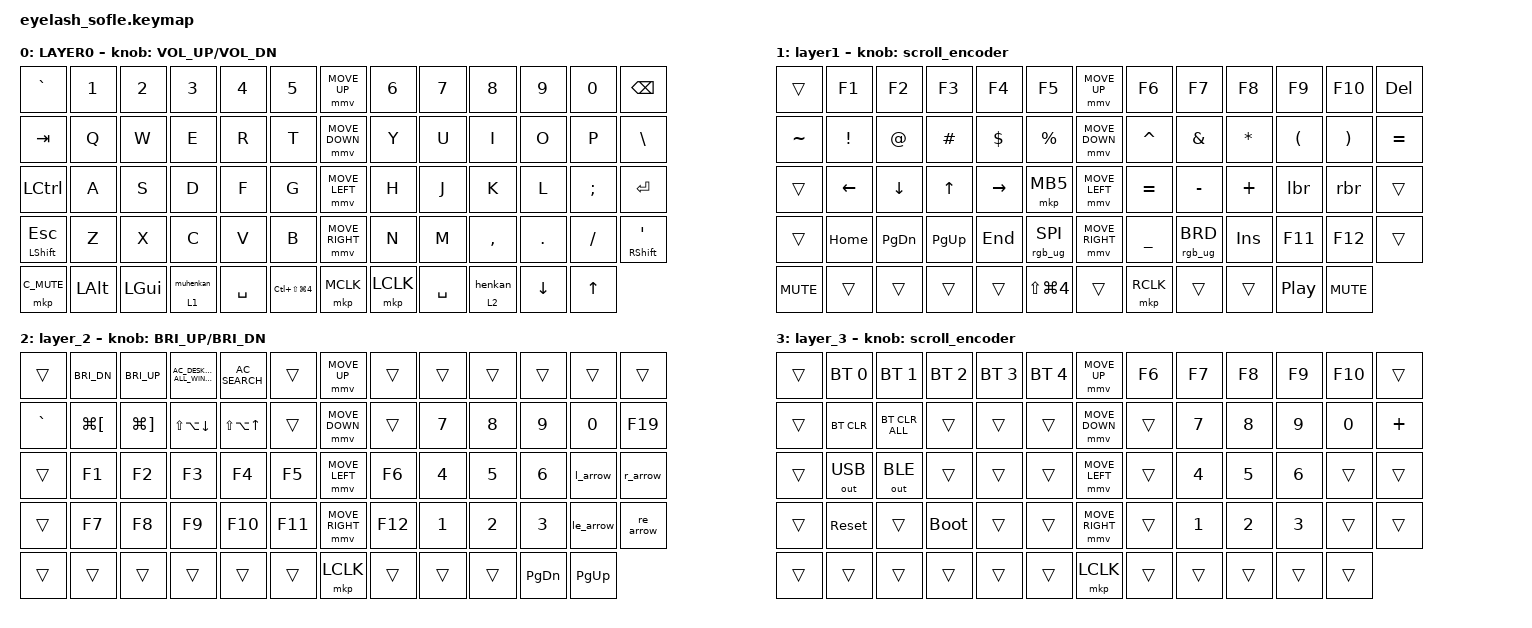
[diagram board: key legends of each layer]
#include <behaviors.dtsi>
#include <dt-bindings/zmk/bt.h>
#include <dt-bindings/zmk/keys.h>
#include <dt-bindings/zmk/mouse.h>
#include <dt-bindings/zmk/outputs.h>
#include <dt-bindings/zmk/rgb.h>

#include <input/processors.dtsi>

/*

   &mmv_input_listener {
       input-processors = <&zip_xy_scaler 2 1>;
   };

   &msc_input_listener {
       input-processors = <&zip_xy_scaler 2 1>;
   };

 */

#define ZMK_MOUSE_DEFAULT_MOVE_VAL 1200  // 600
#define ZMK_MOUSE_DEFAULT_SCRL_VAL 20    // 10


/ {
    macros {
        muhenkan: muhenkan {
            compatible = "zmk,behavior-macro";
            #binding-cells = <0>;
            bindings
                = <&kp LANG2 &kp INT_MUHENKAN>
                ;
        };
        henkan: henkan {
            compatible = "zmk,behavior-macro";
            #binding-cells = <0>;
            bindings
                = <&kp LANG1 &kp INT_HENKAN>
                ;
        };
        r_arrow: right_arrow {
            compatible = "zmk,behavior-macro";
            #binding-cells = <0>;
            bindings
                = <&kp LANG2 &kp INT_MUHENKAN &kp MINUS &kp GT>
                ;
        };
        re_arrow: right_equal_arrow {
            compatible = "zmk,behavior-macro";
            #binding-cells = <0>;
            bindings
                = <&kp LANG2 &kp INT_MUHENKAN &kp EQUAL &kp GT>
                ;
        };
        l_arrow: left_arrow {
            compatible = "zmk,behavior-macro";
            #binding-cells = <0>;
            bindings
                = <&kp LANG2 &kp INT_MUHENKAN &kp LT &kp MINUS>
                ;
        };
        le_arrow: left_equal_arrow {
            compatible = "zmk,behavior-macro";
            #binding-cells = <0>;
            bindings
                = <&kp LANG2 &kp INT_MUHENKAN &kp LT &kp EQUAL>
                ;
        };
    };

    behaviors {
        mmv {
            acceleration-exponent = <1>;      // 1
            time-to-max-speed-ms = <900>;    // 40
            delay-ms = <0>;                   // 0
        };

        msc {
            acceleration-exponent = <1>;      // 0
            time-to-max-speed-ms = <400>;      // 500
            delay-ms = <0>;                   //   10
        };

        mo_1: mo_1 {
            compatible = "zmk,behavior-hold-tap";
            #binding-cells = <2>;
            flavor = "hold-preferred";
            tapping-term-ms = <200>;
            bindings = <&mo>, <&muhenkan>;
        };
        mo_2: mo_2 {
            compatible = "zmk,behavior-hold-tap";
            #binding-cells = <2>;
            flavor = "hold-preferred";
            tapping-term-ms = <200>;
            bindings = <&mo>, <&henkan>;
        };

        lbr: left_brace {
            compatible = "zmk,behavior-tap-dance";
            #binding-cells = <0>;
            tapping-term-ms = <200>;
            bindings = <&kp LBRC>, <&kp LBKT>;
        };
        rbr: right_brace {
            compatible = "zmk,behavior-tap-dance";
            #binding-cells = <0>;
            tapping-term-ms = <200>;
            bindings = <&kp RBRC>, <&kp RBKT>;
        };
    };

    conditional_layers {
        compatible = "zmk,conditional-layers";
        tri_layer {
            if-layers = <1 2>;
            then-layer = <3>;
        };
    };

    scroll_encoder: scroll_encoder {
        compatible = "zmk,behavior-sensor-rotate";
        #sensor-binding-cells = <0>;
        bindings = <&msc SCRL_DOWN>, <&msc SCRL_UP>;

        tap-ms = <30>;
    };

    keymap {
        compatible = "zmk,keymap";

        layer0 {
            bindings = <
&kp GRAVE     &kp N1       &kp N2       &kp N3       &kp N4    &kp N5             &mmv MOVE_UP     &kp N6     &kp N7     &kp N8     &kp N9           &kp N0      &kp BACKSPACE
&kp TAB       &kp Q        &kp W        &kp E        &kp R     &kp T              &mmv MOVE_DOWN   &kp Y      &kp U      &kp I      &kp O            &kp P       &kp BSLH
&kp LCTRL     &kp A        &kp S        &kp D        &kp F     &kp G              &mmv MOVE_LEFT   &kp H      &kp J      &kp K      &kp L            &kp SEMI    &kp ENTER
&mt LSHFT ESC &kp Z        &kp X        &kp C        &kp V     &kp B              &mmv MOVE_RIGHT  &kp N      &kp M      &kp COMMA  &kp DOT          &kp FSLH    &mt RSHFT APOS
&mkp C_MUTE   &kp LEFT_ALT &kp LEFT_GUI &mo_1 1 0    &kp SPACE &kp LC(LS(LG(N4))) &mkp MCLK        &mkp LCLK  &kp SPACE  &mo_2 2 0  &kp DOWN_ARROW   &kp UP_ARROW
            >;

            sensor-bindings = <&inc_dec_kp C_VOLUME_UP C_VOL_DN>;
            display-name = "LAYER0";
        };

        layer_1 {
            bindings = <
&trans       &kp F1           &kp F2          &kp F3           &kp F4           &kp F5             &mmv MOVE_UP     &kp F6           &kp F7           &kp F8      &kp F9     &kp F10           &kp DELETE
&kp TILDE    &kp EXCL         &kp AT          &kp HASH         &kp DLLR         &kp PRCNT          &mmv MOVE_DOWN   &kp CARET        &kp AMPS         &kp STAR    &kp LPAR   &kp RPAR          &kp EQUAL
&trans       &kp LEFT_ARROW   &kp DOWN_ARROW  &kp UP_ARROW     &kp RIGHT_ARROW  &mkp MB5           &mmv MOVE_LEFT   &kp EQUAL        &kp MINUS        &kp PLUS    &lbr       &rbr              &trans
&trans       &kp HOME         &kp PG_DN       &kp PG_UP        &kp END          &rgb_ug RGB_SPI    &mmv MOVE_RIGHT  &kp UNDER        &rgb_ug RGB_BRD  &kp INSERT  &kp F11    &kp F12           &trans
&kp C_MUTE   &trans           &trans          &trans           &trans           &kp LS(LG(N4))     &trans           &mkp RCLK        &trans           &trans      &kp C_PLAY_PAUSE     &kp C_MUTE
            >;

            display-name = "layer1";
            sensor-bindings = <&scroll_encoder>;
        };

        layer_2 {
            bindings = <
&trans      &kp C_BRI_DN  &kp C_BRI_UP    &kp C_AC_DESKTOP_SHOW_ALL_WINDOWS &kp C_AC_SEARCH &trans &mmv MOVE_UP &trans  &trans  &trans &trans &trans       &trans
&kp GRAVE   &kp LG(LBKT)  &kp LG(RBKT)    &kp LS(LA(DOWN_ARROW)) &kp LS(LA(UP_ARROW)) &trans &mmv MOVE_DOWN &trans  &kp N7 &kp N8 &kp N9  &kp N0          &kp F19
&trans      &kp F1        &kp F2          &kp F3        &kp F4        &kp F5          &mmv MOVE_LEFT   &kp F6  &kp N4 &kp N5 &kp N6          &l_arrow     &r_arrow
&trans      &kp F7        &kp F8          &kp F9        &kp F10       &kp F11         &mmv MOVE_RIGHT  &kp F12 &kp N1 &kp N2 &kp N3          &le_arrow    &re_arrow
&trans      &trans        &trans          &trans        &trans        &trans          &mkp LCLK        &trans  &trans  &trans &kp PG_DN      &kp PG_UP
            >; 

            sensor-bindings = <&inc_dec_kp C_BRI_UP C_BRI_DN>;
        };

        layer_3 {
            bindings = <
&trans      &bt BT_SEL 0  &bt BT_SEL 1    &bt BT_SEL 2  &bt BT_SEL 3  &bt BT_SEL 4    &mmv MOVE_UP     &kp F6  &kp F7  &kp F8      &kp F9     &kp F10      &trans
&trans      &bt BT_CLR    &bt BT_CLR_ALL  &trans        &trans        &trans          &mmv MOVE_DOWN   &trans  &kp N7  &kp N8      &kp N9     &kp N0       &kp PLUS
&trans      &out OUT_USB  &out OUT_BLE    &trans        &trans        &trans          &mmv MOVE_LEFT   &trans  &kp N4  &kp N5      &kp N6     &trans       &trans
&trans      &sys_reset    &trans          &bootloader   &trans        &trans          &mmv MOVE_RIGHT  &trans  &kp N1  &kp N2      &kp N3     &trans       &trans
&trans      &trans        &trans          &trans        &trans        &trans          &mkp LCLK        &trans  &trans  &trans      &trans     &trans
            >;

            sensor-bindings = <&scroll_encoder>;
        };

    };
};
